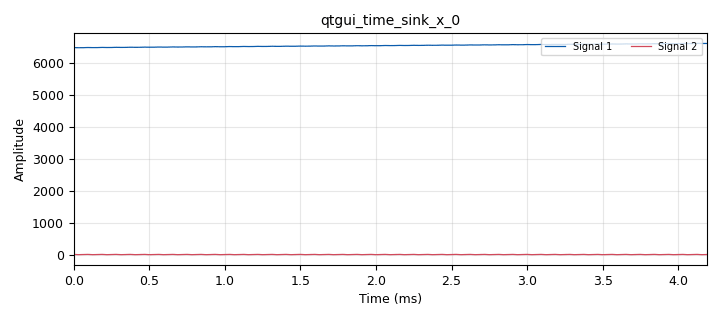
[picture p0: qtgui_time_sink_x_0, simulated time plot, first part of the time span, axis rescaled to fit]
options:
  parameters:
    generate_options: qt_gui
    id: P1_1
    output_language: python
    title: Not titled yet
  states: {}

blocks:
- name: samp_rate
  id: variable
  parameters:
    value: '32000'
  states: {}
- name: blocks_throttle_0
  id: blocks_throttle
  parameters:
    samples_per_second: samp_rate
    type: float
  states: {}
- name: blocks_vector_source_x_0
  id: blocks_vector_source_x
  parameters:
    repeat: 'True'
    type: float
    vector: (1, 5, -3)
  states: {}
- name: epy_block_0
  id: epy_block
  parameters:
    _source_code: |
      import numpy as np
      from gnuradio import gr
      class blk (gr. sync_block ):
          def __init__ ( self ) : # only default arguments here
              gr.sync_block.__init__(
                  self ,
                  name ='e_Acum', # will show up in GRC
                  in_sig =[ np.float32 ],
                  out_sig =[ np.float32 ]
              )
          def work (self , input_items , output_items ):
              x = input_items [0] # Senial de entrada .
              y0 = output_items [0] # Senial acumulada
              
              y0 [:] = np.cumsum (x)
              
              return len (y0)
  states: {}
- name: qtgui_time_sink_x_0
  id: qtgui_time_sink_x
  parameters:
    nconnections: '2'
    size: '1024'
    srate: samp_rate
    type: float
  states: {}

connections:
- [blocks_throttle_0, '0', epy_block_0, '0']
- [blocks_throttle_0, '0', qtgui_time_sink_x_0, '1']
- [blocks_vector_source_x_0, '0', blocks_throttle_0, '0']
- [epy_block_0, '0', qtgui_time_sink_x_0, '0']

metadata:
  file_format: 1
  grc_version: 3.10.5.1
